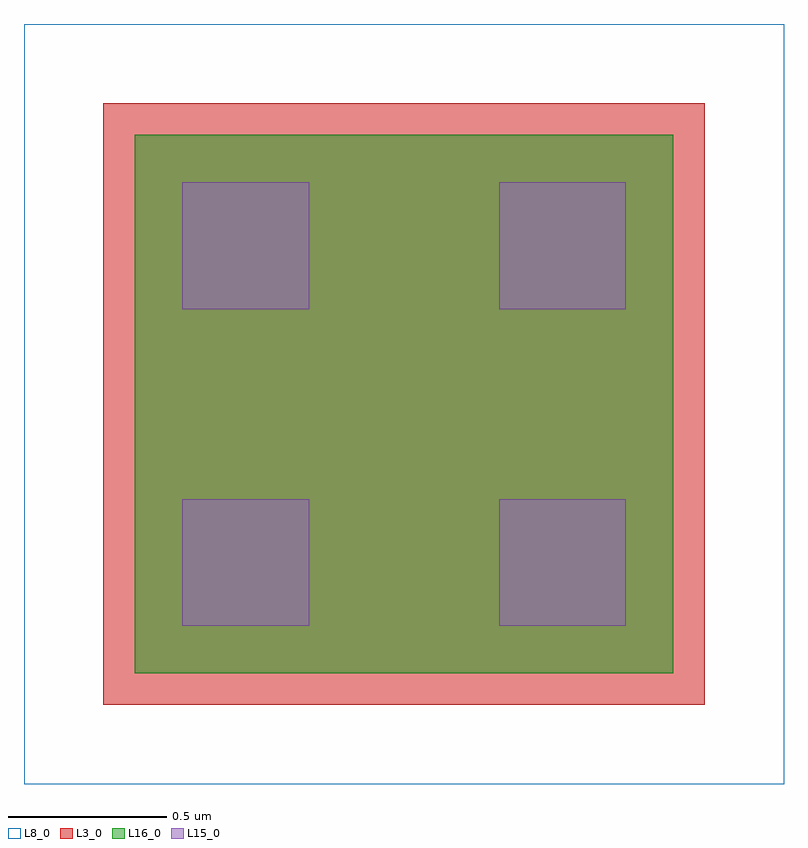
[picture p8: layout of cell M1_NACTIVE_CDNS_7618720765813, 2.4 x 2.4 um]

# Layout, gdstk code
import gdstk
lib = gdstk.Library(unit=1e-6, precision=1e-09)
def R(c, l, rs):  # rectangles x0, y0, x1, y1
    for r in rs: c.add(gdstk.rectangle(r[:2], r[2:], *l))
L3_0 = (3, 0)
L8_0 = (8, 0)
L15_0 = (15, 0)
L16_0 = (16, 0)

m1_nactive_cdns_76187207 = lib.new_cell('M1_NACTIVE_CDNS_7618720765813')
R(m1_nactive_cdns_76187207, L3_0, [(-0.95,-0.95,0.95,0.95)])
R(m1_nactive_cdns_76187207, L8_0, [(-1.2,-1.2,1.2,1.2)])
R(m1_nactive_cdns_76187207, L15_0, [(-0.7,-0.7,-0.3,-0.3), (0.3,-0.7,0.7,-0.3), (-0.7,0.3,-0.3,0.7), (0.3,0.3,0.7,0.7)])
R(m1_nactive_cdns_76187207, L16_0, [(-0.85,-0.85,0.85,0.85)])

lib.write_gds('M1_NACTIVE_CDNS_7618720765813.gds')
